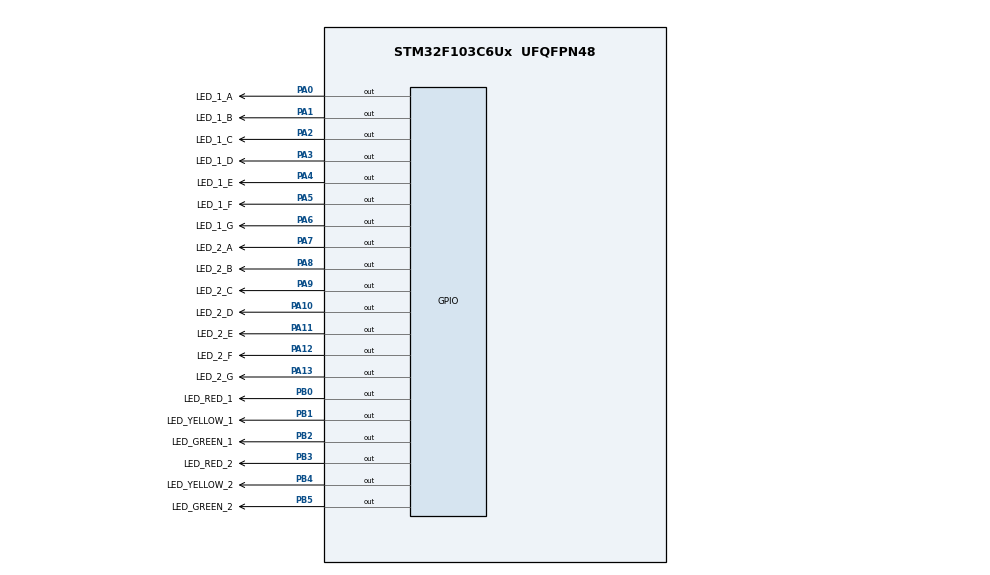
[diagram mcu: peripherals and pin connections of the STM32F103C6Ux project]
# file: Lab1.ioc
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Mcu.Family=STM32F1
Mcu.Name=STM32F103C6Ux
Mcu.Package=UFQFPN48
NVIC.PriorityGroup=NVIC_PRIORITYGROUP_4
PA0-WKUP.GPIO_Label=LED_1_A
PA0-WKUP.Signal=GPIO_Output
PA1.GPIO_Label=LED_1_B
PA1.Signal=GPIO_Output
PA10.GPIO_Label=LED_2_D
PA10.Signal=GPIO_Output
PA11.GPIO_Label=LED_2_E
PA11.Signal=GPIO_Output
PA12.GPIO_Label=LED_2_F
PA12.Signal=GPIO_Output
PA13.GPIO_Label=LED_2_G
PA13.Signal=GPIO_Output
PA2.GPIO_Label=LED_1_C
PA2.Signal=GPIO_Output
PA3.GPIO_Label=LED_1_D
PA3.Signal=GPIO_Output
PA4.GPIO_Label=LED_1_E
PA4.Signal=GPIO_Output
PA5.GPIO_Label=LED_1_F
PA5.Signal=GPIO_Output
PA6.GPIO_Label=LED_1_G
PA6.Signal=GPIO_Output
PA7.GPIO_Label=LED_2_A
PA7.Signal=GPIO_Output
PA8.GPIO_Label=LED_2_B
PA8.Signal=GPIO_Output
PA9.GPIO_Label=LED_2_C
PA9.Signal=GPIO_Output
PB0.GPIO_Label=LED_RED_1
PB0.Signal=GPIO_Output
PB1.GPIO_Label=LED_YELLOW_1
PB1.Signal=GPIO_Output
PB2.GPIO_Label=LED_GREEN_1
PB2.Signal=GPIO_Output
PB3.GPIO_Label=LED_RED_2
PB3.Signal=GPIO_Output
PB4.GPIO_Label=LED_YELLOW_2
PB4.Signal=GPIO_Output
PB5.GPIO_Label=LED_GREEN_2
PB5.Signal=GPIO_Output
ProjectManager.HeapSize=0x200
ProjectManager.StackSize=0x400
ProjectManager.TargetToolchain=STM32CubeIDE
RCC.APB1Freq_Value=8000000
RCC.APB2Freq_Value=8000000
VP_SYS_VS_ND.Mode=No_Debug
board=custom

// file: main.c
/* USER CODE BEGIN Header */
/**
  ******************************************************************************
  * @file           : main.c
  * @brief          : Main program body
  ******************************************************************************
  * @attention
  *
  * <h2><center>&copy; Copyright (c) 2022 STMicroelectronics.
  * All rights reserved.</center></h2>
  *
  * This software component is licensed by ST under BSD 3-Clause license,
  * the "License"; You may not use this file except in compliance with the
  * License. You may obtain a copy of the License at:
  *                        opensource.org/licenses/BSD-3-Clause
  *
  ******************************************************************************
  */
/* USER CODE END Header */
#include "main.h"

void SystemClock_Config(void);
static void MX_GPIO_Init(void);

/* USER CODE BEGIN 0 */
void display7SEG1(int num);
void display7SEG2(int num);
/* USER CODE END 0 */

int main(void)
{

  /* MCU Configuration--------------------------------------------------------*/

  /* Reset of all peripherals, Initializes the Flash interface and the Systick. */
  HAL_Init();

  /* Configure the system clock */
  SystemClock_Config();

  /* Initialize all configured peripherals */
  MX_GPIO_Init();
  /* USER CODE BEGIN 2 */
  int led_status_1 = 0, led_status_2 = 2; // 0: turn GREEN on, 1: turn YELLOW on, 2: turn RED on
  int counter_1 = 0, counter_2 = 0; // counter for each traffic light
  const int counter_lst[3] = {3, 2, 5}; // (3: GREEN stays, 2: YELLOW stays, 5: RED stays) * 1000ms
  /* USER CODE END 2 */

  /* Infinite loop */
  while (1)
  {

    /* USER CODE BEGIN 3 */
	  if (counter_1 == 0){ // Check first traffic light
		counter_1 = counter_lst[led_status_1];	// set counter base on current led state
		switch(led_status_1){
			case 0: {  // turn GREEN on
				HAL_GPIO_WritePin(GPIOB, LED_YELLOW_1_Pin | LED_RED_1_Pin, 1);
				HAL_GPIO_WritePin(GPIOB, LED_GREEN_1_Pin, 0);
				led_status_1 = 1;
				break;
			}
			case 1: {	// turn YELLOW on
				HAL_GPIO_WritePin(GPIOB, LED_YELLOW_1_Pin, 0);
				HAL_GPIO_WritePin(GPIOB, LED_RED_1_Pin | LED_GREEN_1_Pin, 1);
				led_status_1 = 2;
				break;
			}
			case 2: {	// turn RED on
				HAL_GPIO_WritePin(GPIOB, LED_GREEN_1_Pin | LED_YELLOW_1_Pin, 1);
				HAL_GPIO_WritePin(GPIOB, LED_RED_1_Pin, 0);
				led_status_1 = 0;
				break;
			}
		}
	}

	if (counter_2 == 0){	// Check second traffic light
		counter_2 = counter_lst[led_status_1];	// set counter base on current led state
		switch(led_status_2){
			case 0: {  // turn GREEN on
				HAL_GPIO_WritePin(GPIOB, LED_YELLOW_2_Pin | LED_RED_2_Pin, 1);
				HAL_GPIO_WritePin(GPIOB, LED_GREEN_2_Pin, 0);
				led_status_2 = 1;
				break;
			}
			case 1: {	// turn YELLOW on
				HAL_GPIO_WritePin(GPIOB, LED_YELLOW_2_Pin, 0);
				HAL_GPIO_WritePin(GPIOB, LED_RED_2_Pin | LED_GREEN_2_Pin, 1);
				led_status_2 = 2;
				break;
			}
			case 2: {	// turn RED on
				HAL_GPIO_WritePin(GPIOB, LED_GREEN_2_Pin | LED_YELLOW_2_Pin, 1);
				HAL_GPIO_WritePin(GPIOB, LED_RED_2_Pin, 0);
				led_status_2 = 0;
				break;
			}
		}
	}

	display7SEG1(counter_1);
	display7SEG2(counter_2);
	counter_1--;
	counter_2--;
	HAL_Delay(1000);
  }
  /* USER CODE END 3 */
}

void SystemClock_Config(void)
{
  RCC_OscInitTypeDef RCC_OscInitStruct = {0};
  RCC_ClkInitTypeDef RCC_ClkInitStruct = {0};

  /** Initializes the RCC Oscillators according to the specified parameters
  * in the RCC_OscInitTypeDef structure.
  */
  RCC_OscInitStruct.OscillatorType = RCC_OSCILLATORTYPE_HSI;
  RCC_OscInitStruct.HSIState = RCC_HSI_ON;
  RCC_OscInitStruct.HSICalibrationValue = RCC_HSICALIBRATION_DEFAULT;
  RCC_OscInitStruct.PLL.PLLState = RCC_PLL_NONE;
  if (HAL_RCC_OscConfig(&RCC_OscInitStruct) != HAL_OK)
  {
    Error_Handler();
  }
  /** Initializes the CPU, AHB and APB buses clocks
  */
  RCC_ClkInitStruct.ClockType = RCC_CLOCKTYPE_HCLK|RCC_CLOCKTYPE_SYSCLK
                              |RCC_CLOCKTYPE_PCLK1|RCC_CLOCKTYPE_PCLK2;
  RCC_ClkInitStruct.SYSCLKSource = RCC_SYSCLKSOURCE_HSI;
  RCC_ClkInitStruct.AHBCLKDivider = RCC_SYSCLK_DIV1;
  RCC_ClkInitStruct.APB1CLKDivider = RCC_HCLK_DIV1;
  RCC_ClkInitStruct.APB2CLKDivider = RCC_HCLK_DIV1;

  if (HAL_RCC_ClockConfig(&RCC_ClkInitStruct, FLASH_LATENCY_0) != HAL_OK)
  {
    Error_Handler();
  }
}

static void MX_GPIO_Init(void)
{
  GPIO_InitTypeDef GPIO_InitStruct = {0};

  /* GPIO Ports Clock Enable */
  __HAL_RCC_GPIOA_CLK_ENABLE();
  __HAL_RCC_GPIOB_CLK_ENABLE();

  /*Configure GPIO pin Output Level */
  HAL_GPIO_WritePin(GPIOA, LED_1_A_Pin|LED_1_B_Pin|LED_1_C_Pin|LED_1_D_Pin
                          |LED_1_E_Pin|LED_1_F_Pin|LED_1_G_Pin|LED_2_A_Pin
                          |LED_2_B_Pin|LED_2_C_Pin|LED_2_D_Pin|LED_2_E_Pin
                          |LED_2_F_Pin|LED_2_G_Pin, GPIO_PIN_RESET);

  /*Configure GPIO pin Output Level */
  HAL_GPIO_WritePin(GPIOB, LED_RED_1_Pin|LED_YELLOW_1_Pin|LED_GREEN_1_Pin|LED_RED_2_Pin
                          |LED_YELLOW_2_Pin|LED_GREEN_2_Pin, GPIO_PIN_RESET);

  /*Configure GPIO pins : LED_1_A_Pin LED_1_B_Pin LED_1_C_Pin LED_1_D_Pin
                           LED_1_E_Pin LED_1_F_Pin LED_1_G_Pin LED_2_A_Pin
                           LED_2_B_Pin LED_2_C_Pin LED_2_D_Pin LED_2_E_Pin
                           LED_2_F_Pin LED_2_G_Pin */
  GPIO_InitStruct.Pin = LED_1_A_Pin|LED_1_B_Pin|LED_1_C_Pin|LED_1_D_Pin
                          |LED_1_E_Pin|LED_1_F_Pin|LED_1_G_Pin|LED_2_A_Pin
                          |LED_2_B_Pin|LED_2_C_Pin|LED_2_D_Pin|LED_2_E_Pin
                          |LED_2_F_Pin|LED_2_G_Pin;
  GPIO_InitStruct.Mode = GPIO_MODE_OUTPUT_PP;
  GPIO_InitStruct.Pull = GPIO_NOPULL;
  GPIO_InitStruct.Speed = GPIO_SPEED_FREQ_LOW;
  HAL_GPIO_Init(GPIOA, &GPIO_InitStruct);

  /*Configure GPIO pins : LED_RED_1_Pin LED_YELLOW_1_Pin LED_GREEN_1_Pin LED_RED_2_Pin
                           LED_YELLOW_2_Pin LED_GREEN_2_Pin */
  GPIO_InitStruct.Pin = LED_RED_1_Pin|LED_YELLOW_1_Pin|LED_GREEN_1_Pin|LED_RED_2_Pin
                          |LED_YELLOW_2_Pin|LED_GREEN_2_Pin;
  GPIO_InitStruct.Mode = GPIO_MODE_OUTPUT_PP;
  GPIO_InitStruct.Pull = GPIO_NOPULL;
  GPIO_InitStruct.Speed = GPIO_SPEED_FREQ_LOW;
  HAL_GPIO_Init(GPIOB, &GPIO_InitStruct);

}

/* USER CODE BEGIN 4 */
void display7SEG1(int num){
	switch (num){
		case 0: {	// display 0 using leds: a, b, c, d, e, f
			HAL_GPIO_WritePin(GPIOA, LED_1_A_Pin | LED_1_B_Pin | LED_1_C_Pin |
									LED_1_D_Pin | LED_1_E_Pin | LED_1_F_Pin, 0);
			HAL_GPIO_WritePin(GPIOA, LED_1_G_Pin, 1);
			break;
		}
		case 1: {	// display 1 using leds: b, c
			HAL_GPIO_WritePin(GPIOA, LED_1_B_Pin | LED_1_C_Pin, 0);
			HAL_GPIO_WritePin(GPIOA, LED_1_A_Pin | LED_1_D_Pin | LED_1_E_Pin |
									 LED_1_F_Pin | LED_1_G_Pin, 1);
			break;
		}
		case 2: {	// display 2 using leds: a, b, d, e, g
			HAL_GPIO_WritePin(GPIOA, LED_1_A_Pin | LED_1_B_Pin | LED_1_D_Pin |
									 LED_1_E_Pin | LED_1_G_Pin, 0);
			HAL_GPIO_WritePin(GPIOA, LED_1_C_Pin | LED_1_F_Pin, 1);
			break;
		}
		case 3: {	// display 3 using leds: a, b, c, d, g
			HAL_GPIO_WritePin(GPIOA, LED_1_A_Pin | LED_1_B_Pin | LED_1_C_Pin |
									 LED_1_D_Pin | LED_1_G_Pin, 0);
			HAL_GPIO_WritePin(GPIOA, LED_1_E_Pin | LED_1_F_Pin, 1);
			break;
		}
		case 4:{	// display 4 using leds: b, c, f, g
			HAL_GPIO_WritePin(GPIOA, LED_1_B_Pin | LED_1_C_Pin | LED_1_F_Pin |
									 LED_1_G_Pin, 0);
			HAL_GPIO_WritePin(GPIOA, LED_1_A_Pin | LED_1_D_Pin | LED_1_E_Pin, 1);
			break;
		}
		case 5: {	// display 5 using leds: a, c, d, f, g
			HAL_GPIO_WritePin(GPIOA, LED_1_A_Pin | LED_1_C_Pin | LED_1_D_Pin |
									 LED_1_F_Pin | LED_1_G_Pin, 0);
			HAL_GPIO_WritePin(GPIOA, LED_1_B_Pin | LED_1_E_Pin, 1);
			break;
		}
		case 6: {	// display 6 using leds: a, c, d, e, f, g
			HAL_GPIO_WritePin(GPIOA, LED_1_A_Pin | LED_1_C_Pin | LED_1_D_Pin |
									 LED_1_E_Pin | LED_1_F_Pin | LED_1_G_Pin, 0);
			HAL_GPIO_WritePin(GPIOA, LED_1_B_Pin, 1);
			break;
		}
		case 7: {	// diplay 7 using leds: a, b, c
			HAL_GPIO_WritePin(GPIOA, LED_1_A_Pin | LED_1_B_Pin | LED_1_C_Pin, 0);
			HAL_GPIO_WritePin(GPIOA, LED_1_D_Pin | LED_1_E_Pin | LED_1_F_Pin | LED_1_G_Pin, 1);
			break;
		}
		case 8: {	// display 8 using leds: a, b, c, d, e, f, g
			HAL_GPIO_WritePin(GPIOA, LED_1_A_Pin | LED_1_B_Pin | LED_1_C_Pin |
									LED_1_D_Pin | LED_1_E_Pin | LED_1_F_Pin | LED_1_G_Pin, 0);
			break;
		}
		case 9: {	// display 9 using leds: a, b, c, d, f, g
			HAL_GPIO_WritePin(GPIOA, LED_1_A_Pin | LED_1_B_Pin | LED_1_C_Pin |
									 LED_1_D_Pin | LED_1_F_Pin | LED_1_G_Pin, 0);
			HAL_GPIO_WritePin(GPIOA, LED_1_E_Pin, 1);
			break;
		}
	}
}

void display7SEG2(int num){
	switch (num){
		case 0: {	// display 0 using leds: a, b, c, d, e, f
			HAL_GPIO_WritePin(GPIOA, LED_2_A_Pin | LED_2_B_Pin | LED_2_C_Pin |
									LED_2_D_Pin | LED_2_E_Pin | LED_2_F_Pin, 0);
			HAL_GPIO_WritePin(GPIOA, LED_2_G_Pin, 1);
			break;
		}
		case 1: {	// display 1 using leds: b, c
			HAL_GPIO_WritePin(GPIOA, LED_2_B_Pin | LED_2_C_Pin, 0);
			HAL_GPIO_WritePin(GPIOA, LED_2_A_Pin | LED_2_D_Pin | LED_2_E_Pin |
									 LED_2_F_Pin | LED_2_G_Pin, 1);
			break;
		}
		case 2: {	// display 2 using leds: a, b, d, e, g
			HAL_GPIO_WritePin(GPIOA, LED_2_A_Pin | LED_2_B_Pin | LED_2_D_Pin |
									 LED_2_E_Pin | LED_2_G_Pin, 0);
			HAL_GPIO_WritePin(GPIOA, LED_2_C_Pin | LED_2_F_Pin, 1);
			break;
		}
		case 3: {	// display 3 using leds: a, b, c, d, g
			HAL_GPIO_WritePin(GPIOA, LED_2_A_Pin | LED_2_B_Pin | LED_2_C_Pin |
									 LED_2_D_Pin | LED_2_G_Pin, 0);
			HAL_GPIO_WritePin(GPIOA, LED_2_E_Pin | LED_2_F_Pin, 1);
			break;
		}
		case 4:{	// display 4 using leds: b, c, f, g
			HAL_GPIO_WritePin(GPIOA, LED_2_B_Pin | LED_2_C_Pin | LED_2_F_Pin | LED_2_G_Pin, 0);
			HAL_GPIO_WritePin(GPIOA, LED_2_A_Pin | LED_2_D_Pin | LED_2_E_Pin, 1);
			break;
		}
		case 5: {	// display 5 using leds: a, c, d, f, g
			HAL_GPIO_WritePin(GPIOA, LED_2_A_Pin | LED_2_C_Pin | LED_2_D_Pin |
									 LED_2_F_Pin | LED_2_G_Pin, 0);
			HAL_GPIO_WritePin(GPIOA, LED_2_B_Pin | LED_2_E_Pin, 1);
			break;
		}
		case 6: {	// display 6 using leds: a, c, d, e, f, g
			HAL_GPIO_WritePin(GPIOA, LED_2_A_Pin | LED_2_C_Pin | LED_2_D_Pin |
									 LED_2_E_Pin | LED_2_F_Pin | LED_2_G_Pin, 0);
			HAL_GPIO_WritePin(GPIOA, LED_2_B_Pin, 1);
			break;
		}
		case 7: {	// diplay 7 using leds: a, b, c
			HAL_GPIO_WritePin(GPIOA, LED_2_A_Pin | LED_2_B_Pin | LED_2_C_Pin, 0);
			HAL_GPIO_WritePin(GPIOA, LED_2_D_Pin | LED_2_E_Pin | LED_2_F_Pin | LED_2_G_Pin, 1);
			break;
		}
		case 8: {	// display 8 using leds: a, b, c, d, e, f, g
			HAL_GPIO_WritePin(GPIOA, LED_2_A_Pin | LED_2_B_Pin | LED_2_C_Pin |
									LED_2_D_Pin | LED_2_E_Pin | LED_2_F_Pin | LED_2_G_Pin, 0);
			break;
		}
		case 9: {	// display 9 using leds: a, b, c, d, f, g
			HAL_GPIO_WritePin(GPIOA, LED_2_A_Pin | LED_2_B_Pin | LED_2_C_Pin |
									 LED_2_D_Pin | LED_2_F_Pin | LED_2_G_Pin, 0);
			HAL_GPIO_WritePin(GPIOA, LED_2_E_Pin, 1);
			break;
		}
	}
}
/* USER CODE END 4 */

void Error_Handler(void)
{
  __disable_irq();
  while (1)
  {
  }
}

/************************ (C) COPYRIGHT STMicroelectronics *****END OF FILE****/
